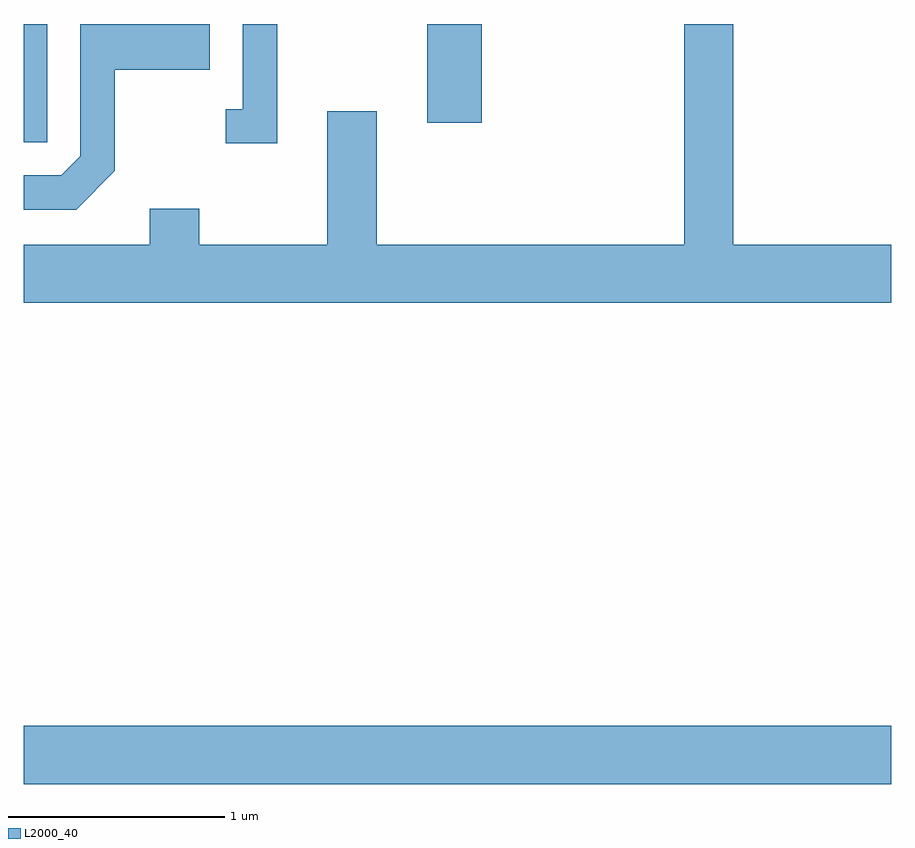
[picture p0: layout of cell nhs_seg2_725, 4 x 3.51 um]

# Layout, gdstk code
import gdstk
lib = gdstk.Library(unit=1e-6, precision=1e-09)
def R(c, l, rs):  # rectangles x0, y0, x1, y1
    for r in rs: c.add(gdstk.rectangle(r[:2], r[2:], *l))
def P(c, l, *ps):  # polygons
    for p in ps: c.add(gdstk.Polygon(p, *l))
L2000_40 = (2000, 40)

nhs_seg2_725 = lib.new_cell('nhs_seg2_725')
R(nhs_seg2_725, L2000_40, [(205.611,1068.296,209.611,1068.564), (205.611,1071.256,205.719,1071.802), (207.471,1071.346,207.724,1071.802)])
P(nhs_seg2_725, L2000_40, [(206.779,1071.802),(206.621,1071.802),(206.621,1071.409),(206.543,1071.409),(206.543,1071.251),(206.779,1071.251)],
  [(209.611,1070.784),(208.884,1070.784),(208.884,1071.802),(208.656,1071.802),(208.656,1070.784),(207.239,1070.784),(207.239,1071.399),(207.011,1071.399),(207.011,1070.784),(206.419,1070.784),(206.419,1070.949),(206.191,1070.949),(206.191,1070.784),(205.611,1070.784),(205.611,1070.516),(209.611,1070.516)],
  [(206.029,1071.124),(206.029,1071.591),(206.469,1071.591),(206.469,1071.802),(205.871,1071.802),(205.871,1071.192),(205.784,1071.104),(205.611,1071.104),(205.611,1070.946),(205.852,1070.946)])

lib.write_gds('nhs_seg2_725.gds')
